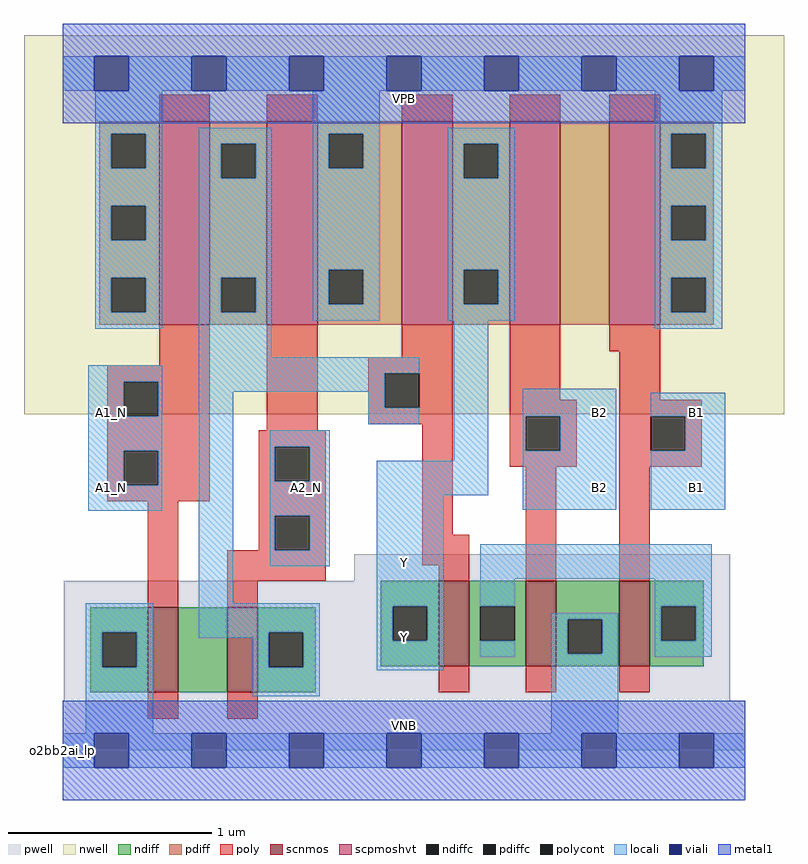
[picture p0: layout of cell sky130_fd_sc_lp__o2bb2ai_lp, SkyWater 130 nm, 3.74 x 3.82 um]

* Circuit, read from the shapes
.subckt sky130_fd_sc_lp__o2bb2ai_lp A1_N A2_N B1 B2 VGND VNB VPB VPWR Y
XM1 n1 A1_N VGND VNB sky130_fd_pr__nfet_01v8 w=0.42 l=0.15
XM2 n2 A2_N n1 VNB sky130_fd_pr__nfet_01v8 w=0.42 l=0.15
XM3 n3 n2 Y VNB sky130_fd_pr__nfet_01v8 w=0.42 l=0.15
XM4 VGND B2 n3 VNB sky130_fd_pr__nfet_01v8 w=0.42 l=0.15
XM5 n3 B1 VGND VNB sky130_fd_pr__nfet_01v8 w=0.42 l=0.15
XM6 n2 A1_N VPWR VPB sky130_fd_pr__pfet_01v8_hvt w=1 l=0.25
XM7 VPWR A2_N n2 VPB sky130_fd_pr__pfet_01v8_hvt w=1 l=0.25
XM8 Y n2 VPWR VPB sky130_fd_pr__pfet_01v8_hvt w=1 l=0.25
XM9 n4 B2 Y VPB sky130_fd_pr__pfet_01v8_hvt w=1 l=0.25
XM10 VPWR B1 n4 VPB sky130_fd_pr__pfet_01v8_hvt w=1 l=0.25
.ends

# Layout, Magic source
magic
tech sky130A
magscale 1 2
<< nwell >>
rect -38 331 710 704
<< pwell >>
rect 287 167 657 193
rect 1 49 657 167
rect 0 0 672 49
<< scnmos >>
rect 84 57 114 141
rect 162 57 192 141
rect 370 83 400 167
rect 456 83 486 167
rect 548 83 578 167
<< scpmoshvt >>
rect 95 419 145 619
rect 201 419 251 619
rect 334 419 384 619
rect 440 419 490 619
rect 538 419 588 619
<< ndiff >>
rect 313 142 370 167
rect 27 116 84 141
rect 27 82 39 116
rect 73 82 84 116
rect 27 57 84 82
rect 114 57 162 141
rect 192 116 249 141
rect 192 82 203 116
rect 237 82 249 116
rect 313 108 325 142
rect 359 108 370 142
rect 313 83 370 108
rect 400 142 456 167
rect 400 108 411 142
rect 445 108 456 142
rect 400 83 456 108
rect 486 129 548 167
rect 486 95 497 129
rect 531 95 548 129
rect 486 83 548 95
rect 578 142 631 167
rect 578 108 589 142
rect 623 108 631 142
rect 578 83 631 108
rect 192 57 249 82
<< pdiff >>
rect 36 607 95 619
rect 36 573 48 607
rect 82 573 95 607
rect 36 536 95 573
rect 36 502 48 536
rect 82 502 95 536
rect 36 465 95 502
rect 36 431 48 465
rect 82 431 95 465
rect 36 419 95 431
rect 145 597 201 619
rect 145 563 156 597
rect 190 563 201 597
rect 145 465 201 563
rect 145 431 156 465
rect 190 431 201 465
rect 145 419 201 431
rect 251 607 334 619
rect 251 573 262 607
rect 296 573 334 607
rect 251 473 334 573
rect 251 439 262 473
rect 296 439 334 473
rect 251 419 334 439
rect 384 597 440 619
rect 384 563 395 597
rect 429 563 440 597
rect 384 473 440 563
rect 384 439 395 473
rect 429 439 440 473
rect 384 419 440 439
rect 490 419 538 619
rect 588 607 641 619
rect 588 573 599 607
rect 633 573 641 607
rect 588 536 641 573
rect 588 502 599 536
rect 633 502 641 536
rect 588 465 641 502
rect 588 431 599 465
rect 633 431 641 465
rect 588 419 641 431
<< ndiffc >>
rect 39 82 73 116
rect 203 82 237 116
rect 325 108 359 142
rect 411 108 445 142
rect 497 95 531 129
rect 589 108 623 142
<< pdiffc >>
rect 48 573 82 607
rect 48 502 82 536
rect 48 431 82 465
rect 156 563 190 597
rect 156 431 190 465
rect 262 573 296 607
rect 262 439 296 473
rect 395 563 429 597
rect 395 439 429 473
rect 599 573 633 607
rect 599 502 633 536
rect 599 431 633 465
<< poly >>
rect 95 619 145 645
rect 201 619 251 645
rect 334 619 384 645
rect 440 619 490 645
rect 538 619 588 645
rect 95 379 145 419
rect 44 363 145 379
rect 44 329 60 363
rect 94 329 145 363
rect 44 295 145 329
rect 201 315 251 419
rect 334 387 384 419
rect 301 371 384 387
rect 301 337 317 371
rect 351 337 384 371
rect 301 321 384 337
rect 44 261 60 295
rect 94 261 145 295
rect 44 245 145 261
rect 193 299 259 315
rect 193 265 209 299
rect 243 265 259 299
rect 84 141 114 245
rect 193 231 259 265
rect 193 197 209 231
rect 243 197 259 231
rect 162 167 259 197
rect 354 212 384 321
rect 440 345 490 419
rect 538 393 588 419
rect 548 345 588 393
rect 440 329 506 345
rect 440 295 456 329
rect 490 295 506 329
rect 440 279 506 295
rect 548 329 629 345
rect 548 295 579 329
rect 613 295 629 329
rect 548 279 629 295
rect 354 182 400 212
rect 370 167 400 182
rect 456 167 486 279
rect 548 167 578 279
rect 162 141 192 167
rect 370 57 400 83
rect 456 57 486 83
rect 548 57 578 83
rect 84 31 114 57
rect 162 31 192 57
<< polycont >>
rect 60 329 94 363
rect 317 337 351 371
rect 60 261 94 295
rect 209 265 243 299
rect 209 197 243 231
rect 456 295 490 329
rect 579 295 613 329
<< locali >>
rect 0 649 31 683
rect 65 649 127 683
rect 161 649 223 683
rect 257 649 319 683
rect 353 649 415 683
rect 449 649 511 683
rect 545 649 607 683
rect 641 649 672 683
rect 32 607 98 649
rect 32 573 48 607
rect 82 573 98 607
rect 32 536 98 573
rect 32 502 48 536
rect 82 502 98 536
rect 32 465 98 502
rect 32 431 48 465
rect 82 431 98 465
rect 32 415 98 431
rect 134 597 206 613
rect 134 563 156 597
rect 190 563 206 597
rect 134 465 206 563
rect 134 431 156 465
rect 190 431 206 465
rect 134 387 206 431
rect 246 607 312 649
rect 246 573 262 607
rect 296 573 312 607
rect 246 473 312 573
rect 246 439 262 473
rect 296 439 312 473
rect 246 423 312 439
rect 379 597 445 613
rect 379 563 395 597
rect 429 563 445 597
rect 379 473 445 563
rect 379 439 395 473
rect 429 439 445 473
rect 379 423 445 439
rect 583 607 649 649
rect 583 573 599 607
rect 633 573 649 607
rect 583 536 649 573
rect 583 502 599 536
rect 633 502 649 536
rect 583 465 649 502
rect 583 431 599 465
rect 633 431 649 465
rect 25 363 98 379
rect 25 329 60 363
rect 94 329 98 363
rect 25 295 98 329
rect 25 261 60 295
rect 94 261 98 295
rect 25 236 98 261
rect 134 371 351 387
rect 134 353 317 371
rect 134 145 168 353
rect 301 337 317 353
rect 301 321 351 337
rect 204 299 263 315
rect 204 265 209 299
rect 243 265 263 299
rect 385 285 419 423
rect 583 415 649 431
rect 204 231 263 265
rect 204 197 209 231
rect 243 197 263 231
rect 204 181 263 197
rect 309 251 419 285
rect 453 329 545 356
rect 453 295 456 329
rect 490 295 545 329
rect 23 116 89 145
rect 23 82 39 116
rect 73 82 89 116
rect 134 116 253 145
rect 134 111 203 116
rect 23 17 89 82
rect 187 82 203 111
rect 237 82 253 116
rect 187 53 253 82
rect 309 142 375 251
rect 453 237 545 295
rect 579 329 652 352
rect 613 295 652 329
rect 579 237 652 295
rect 309 108 325 142
rect 359 108 375 142
rect 309 79 375 108
rect 411 169 639 203
rect 411 142 445 169
rect 583 142 639 169
rect 411 92 445 108
rect 481 129 547 135
rect 481 95 497 129
rect 531 95 547 129
rect 481 17 547 95
rect 583 108 589 142
rect 623 108 639 142
rect 583 92 639 108
rect 0 -17 31 17
rect 65 -17 127 17
rect 161 -17 223 17
rect 257 -17 319 17
rect 353 -17 415 17
rect 449 -17 511 17
rect 545 -17 607 17
rect 641 -17 672 17
<< viali >>
rect 31 649 65 683
rect 127 649 161 683
rect 223 649 257 683
rect 319 649 353 683
rect 415 649 449 683
rect 511 649 545 683
rect 607 649 641 683
rect 31 -17 65 17
rect 127 -17 161 17
rect 223 -17 257 17
rect 319 -17 353 17
rect 415 -17 449 17
rect 511 -17 545 17
rect 607 -17 641 17
<< metal1 >>
rect 0 683 672 715
rect 0 649 31 683
rect 65 649 127 683
rect 161 649 223 683
rect 257 649 319 683
rect 353 649 415 683
rect 449 649 511 683
rect 545 649 607 683
rect 641 649 672 683
rect 0 617 672 649
rect 0 17 672 49
rect 0 -17 31 17
rect 65 -17 127 17
rect 161 -17 223 17
rect 257 -17 319 17
rect 353 -17 415 17
rect 449 -17 511 17
rect 545 -17 607 17
rect 641 -17 672 17
rect 0 -49 672 -17
<< labels >>
flabel pwell s 0 0 672 49 0 FreeSans 200 0 0 0 VNB
port 6 nsew ground bidirectional
flabel nwell s 0 617 672 666 0 FreeSans 200 0 0 0 VPB
port 7 nsew power bidirectional
rlabel comment s 0 0 0 0 4 o2bb2ai_lp
flabel metal1 s 0 617 672 666 0 FreeSans 340 0 0 0 VPWR
port 8 nsew power bidirectional
flabel metal1 s 0 0 672 49 0 FreeSans 340 0 0 0 VGND
port 5 nsew ground bidirectional
flabel locali s 319 94 353 128 0 FreeSans 340 0 0 0 Y
port 9 nsew signal output
flabel locali s 319 168 353 202 0 FreeSans 340 0 0 0 Y
port 9 nsew signal output
flabel locali s 511 316 545 350 0 FreeSans 340 0 0 0 B2
port 4 nsew signal input
flabel locali s 607 316 641 350 0 FreeSans 340 0 0 0 B1
port 3 nsew signal input
flabel locali s 223 242 257 276 0 FreeSans 340 0 0 0 A2_N
port 2 nsew signal input
flabel locali s 31 242 65 276 0 FreeSans 340 0 0 0 A1_N
port 1 nsew signal input
flabel locali s 31 316 65 350 0 FreeSans 340 0 0 0 A1_N
port 1 nsew signal input
flabel locali s 511 242 545 276 0 FreeSans 340 0 0 0 B2
port 4 nsew signal input
flabel locali s 607 242 641 276 0 FreeSans 340 0 0 0 B1
port 3 nsew signal input
<< properties >>
string LEFsite unit
string LEFclass CORE
string FIXED_BBOX 0 0 672 666
string GDS_FILE $PDKPATH/libs.ref/sky130_fd_sc_lp/gds/sky130_fd_sc_lp.gds
string LEFsymmetry X Y R90
string GDS_END 4079858
string GDS_START 4073182
<< end >>
